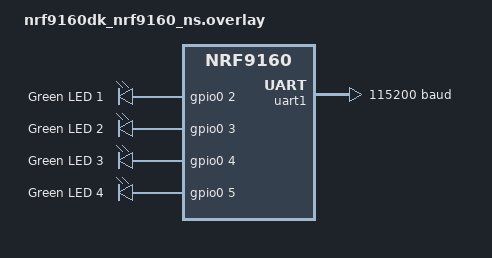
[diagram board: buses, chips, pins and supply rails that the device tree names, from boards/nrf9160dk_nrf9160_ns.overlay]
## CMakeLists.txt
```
#
# Copyright (c) 2021 Nordic Semiconductor ASA
#
# SPDX-License-Identifier: LicenseRef-Nordic-5-Clause
#

cmake_minimum_required(VERSION 3.20.0)

find_package(Zephyr REQUIRED HINTS $ENV{ZEPHYR_BASE})
project(asset_tracker_v2)
zephyr_compile_definitions(PROJECT_NAME=${PROJECT_NAME})

# NORDIC SDK APP START
target_sources(app PRIVATE src/main.c
                           src/uart_1_module.c
                           src/uart_1_event.c)
# NORDIC SDK APP END

# Include source directory
target_include_directories(app PRIVATE src)
target_include_directories(app PRIVATE include/${BOARD}/)
zephyr_include_directories_ifdef(CONFIG_MEMFAULT configuration/memfault)

# Application directories
add_subdirectory(src/modules)
add_subdirectory(src/events)

add_subdirectory_ifdef(CONFIG_CLOUD_MODULE src/cloud)
add_subdirectory_ifdef(CONFIG_SENSOR_MODULE src/ext_sensors)
add_subdirectory_ifdef(CONFIG_WATCHDOG_APPLICATION src/watchdog)

# Include nRF modem library header file for PC builds.
# These are used throughout the application in type definitions.
if (CONFIG_BOARD_QEMU_X86 OR CONFIG_BOARD_NATIVE_POSIX)
        target_include_directories(app PRIVATE ${NRFXLIB_DIR}/nrf_modem/include/)

        # Make folder containing certificates global so that it can be located by the configured
        # cloud library.
        zephyr_include_directories(src/cloud-certs)

        target_compile_options(app PRIVATE
	        -DCONFIG_LTE_NEIGHBOR_CELLS_MAX=10)
endif()
```

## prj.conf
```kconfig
#
# Copyright (c) 2021 Nordic Semiconductor ASA
#
# SPDX-License-Identifier: LicenseRef-Nordic-5-Clause
#

# General config
CONFIG_NEWLIB_LIBC=y
CONFIG_NEWLIB_LIBC_NANO=y
CONFIG_NEWLIB_LIBC_FLOAT_PRINTF=y
CONFIG_ASSERT=y
CONFIG_REBOOT=y
CONFIG_FPU=y

CONFIG_RESET_ON_FATAL_ERROR=n


#CONFIG_DATE_TIME=y
#CONFIG_DATE_TIME_NTP=y
#CONFIG_NRF_MODEM_LIB=y
#CONFIG_LTE_LINK_CONTROL=y 
#CONFIG_DATE_TIME_UPDATE_INTERVAL_SECONDS=10
#CONFIG_DATE_TIME_TOO_OLD_SECONDS=5



#CONFIG_DATE_TIME_NTP_SERVER="pool.ntp.org"
#CONFIG_DATE_TIME_AUTO_UPDATE=y
#CONFIG_DATE_TIME_NTP_QUERY_TIME_SECONDS=5
#CONFIG_DATE_TIME_THREAD_STACK_SIZE=1024

# Heap and stacks
CONFIG_HEAP_MEM_POOL_SIZE=47250
CONFIG_MAIN_STACK_SIZE=2048
CONFIG_SYSTEM_WORKQUEUE_STACK_SIZE=4096
CONFIG_HW_STACK_PROTECTION=y
# Increase AT monitor heap size to be able to fit both neighbor cell measurement
# and other AT notifications that may come in rapid succession.
CONFIG_AT_MONITOR_HEAP_SIZE=1024

# Logging
CONFIG_LOG=y
CONFIG_LOG_MODE_DEFERRED=y

# nRF modem library
CONFIG_NRF_MODEM_LIB=y
CONFIG_NRF_MODEM_LIB_ON_FAULT_APPLICATION_SPECIFIC=y

# AT Host library - Used to send AT commands directy from an UART terminal and to allow
#		    integration with nRF Connect for Desktop LTE Link monitor application.
CONFIG_AT_HOST_LIBRARY=y





# Network
CONFIG_NETWORKING=y
CONFIG_NET_NATIVE=n
CONFIG_NET_SOCKETS=y
CONFIG_NET_SOCKETS_OFFLOAD=y
CONFIG_NET_IPV6=y
CONFIG_NET_IPV4=y

# LTE link control
CONFIG_LTE_NETWORK_MODE_LTE_M_GPS=y
## Power saving timers.
### 320 hours PSM.
CONFIG_LTE_PSM_REQ=y
CONFIG_LTE_PSM_REQ_RPTAU="11000001"
### 20 seconds active time.
CONFIG_LTE_PSM_REQ_RAT="00001010"

# Settings - Used to store real-time device configuration to flash.
CONFIG_SETTINGS=y
CONFIG_SETTINGS_FCB=y
CONFIG_FCB=y

# FOTA
CONFIG_FOTA_DOWNLOAD=y
CONFIG_DFU_TARGET=y
CONFIG_DOWNLOAD_CLIENT=y
CONFIG_DOWNLOAD_CLIENT_HTTP_FRAG_SIZE_1024=y
CONFIG_DOWNLOAD_CLIENT_STACK_SIZE=4096
CONFIG_DOWNLOAD_CLIENT_BUF_SIZE=2300
CONFIG_DOWNLOAD_CLIENT_MAX_HOSTNAME_SIZE=128

# Flash - Used in FOTA, settings and storage for P-GPS.
CONFIG_FLASH=y
CONFIG_FLASH_PAGE_LAYOUT=y
CONFIG_FLASH_MAP=y
CONFIG_STREAM_FLASH=y
CONFIG_MPU_ALLOW_FLASH_WRITE=y

# MCUBOOT
CONFIG_BOOTLOADER_MCUBOOT=y
CONFIG_IMG_MANAGER=y
CONFIG_MCUBOOT_IMG_MANAGER=y
CONFIG_IMG_ERASE_PROGRESSIVELY=y
CONFIG_SECURE_BOOT=y
CONFIG_BUILD_S1_VARIANT=y

# Watchdog
CONFIG_WATCHDOG_APPLICATION=y

# Application Event Manager
CONFIG_APP_EVENT_MANAGER=y
CONFIG_APP_EVENT_MANAGER_LOG_EVENT_TYPE=n

# cJSON - Used in cloud data encoding.
CONFIG_CJSON_LIB=y

# CAF - Common Application Framework
CONFIG_CAF=y
CONFIG_LED=y
CONFIG_CAF_LEDS=y
CONFIG_CAF_INIT_LOG_LED_READY_EVENTS=n
CONFIG_CAF_INIT_LOG_LED_EVENTS=n
CONFIG_CAF_INIT_LOG_MODULE_STATE_EVENTS=n

# Location related configuration
CONFIG_LOCATION=y
CONFIG_LOCATION_REQUEST_DEFAULT_METHOD_FIRST_GNSS=y
CONFIG_LOCATION_REQUEST_DEFAULT_METHOD_SECOND_CELLULAR=y
CONFIG_LOCATION_REQUEST_DEFAULT_GNSS_TIMEOUT=90000
CONFIG_LOCATION_REQUEST_DEFAULT_CELLULAR_TIMEOUT=11000
CONFIG_LOCATION_DATA_DETAILS=y
CONFIG_LOCATION_LOG_LEVEL_WRN=y

# Default cloud transport service
#CONFIG_NRF_CLOUD_MQTT=y
CONFIG_HW_ID_LIBRARY=y
CONFIG_HW_ID_LIBRARY_SOURCE_IMEI=y

CONFIG_SERIAL=y
CONFIG_TRUSTED_EXECUTION_NONSECURE=y
CONFIG_UART_INTERRUPT_DRIVEN=y

CONFIG_AWS_FOTA_DOWNLOAD_SECURITY_TAG=123456
CONFIG_POSIX_MAX_FDS=24 

#CONFIG_AWS_IOT_CLIENT_ID_APP=y
CONFIG_AWS_IOT_CLIENT_ID_STATIC="nrf9160_thing"

#CONFIG_NRF_CLOUD_AGPS=y ###


#CONFIG_NRF_CLOUD_REST=y

#CONFIG_NRF_CLOUD_SEC_TAG=16842753

#CONFIG_CLOUD_CLIENT_ID_USE_CUSTOM=y

#CONFIG_CLOUD_CLIENT_ID="351516179803200"
# Enable DFU target for MCUboot
```

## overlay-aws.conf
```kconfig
#
# Copyright (c) 2021 Nordic Semiconductor ASA
#
# SPDX-License-Identifier: LicenseRef-Nordic-5-Clause
#

CONFIG_AWS_IOT=y
CONFIG_AWS_IOT_TOPIC_UPDATE_DELTA_SUBSCRIBE=y
CONFIG_AWS_IOT_TOPIC_GET_REJECTED_SUBSCRIBE=y
CONFIG_AWS_IOT_AUTO_DEVICE_SHADOW_REQUEST=y
CONFIG_AWS_IOT_MQTT_RX_TX_BUFFER_LEN=2048
CONFIG_AWS_IOT_APP_SUBSCRIPTION_LIST_COUNT=3
#CONFIG_AWS_IOT_CLIENT_ID_APP=y
CONFIG_AWS_FOTA=y


# Options that must be configured in order to establish a connection.
CONFIG_AWS_IOT_SEC_TAG=123456
CONFIG_AWS_IOT_BROKER_HOST_NAME="a30695n0axlqin-ats.iot.us-east-2.amazonaws.com"

# MQTT Transport library
# Maximum specified MQTT keepalive timeout for AWS IoT is 1200 seconds.
CONFIG_MQTT_KEEPALIVE=300
# FOTA download
```

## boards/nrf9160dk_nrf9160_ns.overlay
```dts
/	{


	chosen {
		zephyr,console = &uart0;
		zephyr,shell-uart = &uart1;   // for receiving data from nrf52833(P0.6 tx and P0.8 Rx),nrf9160 (P0.0 Rx and P0.1 Tx)
		zephyr,uart-mcumgr = &uart0;
	};

	/delete-node/ leds;

	leds0 {
		compatible = "gpio-leds";
		status = "okay";
		label = "LED0";
		led0: led_0 {
			status = "okay";
			gpios = <&gpio0 2 0>;
			label = "Green LED 1";
		};
	};

	leds1 {
		compatible = "gpio-leds";
		status = "okay";
		label = "LED1";
		led1: led_1 {
			gpios = <&gpio0 3 0>;
			label = "Green LED 2";
		};
	};

	leds2 {
		compatible = "gpio-leds";
		status = "okay";
		label = "LED2";
		led2: led_2 {
			gpios = <&gpio0 4 0>;
			label = "Green LED 3";
		};
	};

	leds3 {
		compatible = "gpio-leds";
		status = "okay";
		label = "LED3";
		led3: led_3 {
			gpios = <&gpio0 5 0>;
			label = "Green LED 4";
		};
	};
};

/* Enable high drive mode for the SPI3 pins to get a square signal at 8 MHz */
&spi3_default {
	group1 {
		nordic,drive-mode = <NRF_DRIVE_H0H1>;
	};
};

&uart1 {
	status = "okay";
	current-speed = <115200>;
	pinctrl-0 = <&uart1_default>;
	pinctrl-1 = <&uart1_sleep>;
	pinctrl-names = "default", "sleep";

	
	

};
```

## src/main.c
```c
/*
 * Copyright (c) 2021 Nordic Semiconductor ASA
 *
 * SPDX-License-Identifier: LicenseRef-Nordic-5-Clause
 */

#include <zephyr/kernel.h>
#include <stdio.h>
#include <string.h>
#include <stdlib.h>
#include <app_event_manager.h>
#include <modem/nrf_modem_lib.h>
#include <zephyr/sys/reboot.h>
#include <net/nrf_cloud.h>
#include <zephyr/drivers/uart.h>
/* Module name is used by the Application Event Manager macros in this file */
#define MODULE main
#include <caf/events/module_state_event.h>

#include "modules_common.h"
#include "events/app_module_event.h"
#include "events/cloud_module_event.h"
#include "events/data_module_event.h"
#include "events/sensor_module_event.h"
#include "events/util_module_event.h"
#include "events/modem_module_event.h"

#include <zephyr/logging/log.h>
#include <zephyr/logging/log_ctrl.h>
#include "cloud_wrapper.h"

#include "uart_1_event.h"

#include<date_time.h>

LOG_MODULE_REGISTER(MODULE, CONFIG_APPLICATION_MODULE_LOG_LEVEL);

// Uart code Start................... //

  char uart_buf[256],Data_Extract[50],Central_Packet[100],Data_arr[50];
  
  char S_Flag=0;
  uint8_t data_length = 0;
  
  char Message_array[130];
  bool Start_Flag=false;
  bool Stop_Flag=false;
  bool one_time=false;

  //  char Start_Flag=0;
  //char Stop_Flag=0;
  bool Left_Bracket_Flag = false;
  bool Right_Bracket_Flag =false;
  uint8_t index,c;    // to know the number of characters in the array stored 
  uint8_t i;


  char j=0;
  char gps_packet_array[50];
  	
  //struct uart_module_event *event = new_uart_module_event();  //Declare an event type. This macro provides declarations required for an event to be used by other modules.
 	

// coded added for UART 

/* change this to any other UART peripheral if desired */
#define UART_DEVICE_NODE DT_CHOSEN(zephyr_console)   

#define UART_DEVICE_NODE1 DT_CHOSEN(zephyr_shell_uart)


/* queue to store up to 10 messages (aligned to 4-byte boundary) */
//K_MSGQ_DEFINE(uart_msgq, MSG_SIZE, 10, 4);  // code commented 

static const struct device *const uart_dev = DEVICE_DT_GET(UART_DEVICE_NODE);
static const struct device *const uart = DEVICE_DT_GET(UART_DEVICE_NODE1);

/* receive buffer used in UART ISR callback */

/*
 * Read characters from UART until line end is detected. Afterwards push the
 * data to the message queue.
 */




/*
void serial_cb(const struct device *dev)
{
	data_length = 0;

    uint16_t  index,c;    // to know the number of characters in the array stored 


	struct uart_module_event *event = new_uart_module_event();  //Declare an event type. This macro provides declarations required for an event to be used by other modules.

	if (!uart_irq_update(dev)) {
		return;
	}

  while (uart_irq_rx_ready(dev)) {    // uart interrupt 

	data_length = uart_fifo_read(dev, uart_buf, 1);  //Read data from FIFO. and returns no.  of bytes recieved 
	uart_buf[data_length] = 0;  // no. of bytes received 


	print_uart(dev,uart_buf);    // just for testing the loop back 

 
    if(uart_buf[0]=='&') {  //if $ rec , start loading (A)
	 i=0;

	 Start_Flag=1;
	 Stop_Flag=0;
	}

	if(uart_buf[0]=='&'){  // stop storing data (A)
	  
	  Stop_Flag=1;
	  Start_Flag=0;
	 
	  index=i;         // to know the numbers of characters rec
      i=0;
	
	}
    

	if(Start_Flag==1 && Stop_Flag==0){   //if $ rec , start loading (B)
    
	if(uart_buf[0]!='$')
	Data_Extract[i++]=uart_buf[0];   //start storing in data_extract 

	
	

	}

	if(Start_Flag==0 && Stop_Flag==1){ // stop storing data (B)

   print_uart(dev,"\nTLV493D   ");
	
	// print_uart(dev,Data_Extract);
     Stop_Flag=0;
	 Start_Flag=0;

   for(c=0; c<index; c++){
	event->data[c]=Data_Extract[c];
    }
//	event->data[c++]='\0';
	event->type=UART_EVT_RECIEVED;
	APP_EVENT_SUBMIT(event);

	}

  }


}
*/

   
/*
void serial_cb(const struct device *dev)     // workinng  code 
{

   
	//data_length = 0;

    
	if (!uart_irq_update(dev)) {
		return;
	}

  while (uart_irq_rx_ready(dev)) {    // uart interrupt 

    

	data_length = uart_fifo_read(dev, uart_buf, sizeof(uart_buf));  //Read data from FIFO. and returns no.  of bytes recieved 
	uart_buf[data_length] = 0;  // no. of bytes received 
   
  // printf("data_length  %x  ",data_length);
 if(Start_Flag==true)
	 Data_Extract[i++]=uart_buf[0];   //start storing in data_extract 


    if(uart_buf[0]=='(') 
	 Left_Bracket_Flag=true;

	if(uart_buf[0]=='&')
	 Right_Bracket_Flag=true;

   
	if(Left_Bracket_Flag==true && uart_buf[0]=='$') {  //if $ rec , start loading (A)

	 Start_Flag=true;
	 Left_Bracket_Flag=false;
	 Right_Bracket_Flag=false;
	 i=0;
	}


   

  	 if(Right_Bracket_Flag ==true && uart_buf[0]==')'){  // stop storing data (A)

	// if below line declared at the top of serial_cb , it hangs the code after some messages sent from serial via nrf52833
       Data_Extract[i-2]=NULL;   //start storing in data_extract 


	 struct uart_module_event *event = new_uart_module_event();  //Declare an event type. This macro provides declarations required for an event to be used by other modules.
   

	  Start_Flag=false;
	  Right_Bracket_Flag=false;
	  Left_Bracket_Flag=false;

	  print_uart(dev,Data_Extract);

	  index=i;         // to know the numbers of characters rec
     
    
	
    for(c=0; c<index; c++){
     event->data[c]=Data_Extract[c];
    }
//	event->data[c++]='\0';
     i=0;
	 strstr()

	event->type=UART_EVT_RECIEVED;
	APP_EVENT_SUBMIT(event);

	}

  }


}

*/
void serial_cb(const struct device *dev)     // workinng  code 
{

   
	//data_length = 0;

    
	if (!uart_irq_update(dev)) {
		return;
	}

  while (uart_irq_rx_ready(dev)) {    // uart interrupt 

    

	data_length = uart_fifo_read(dev, uart_buf, sizeof(uart_buf));  //Read data from FIFO. and returns no.  of bytes recieved 
	uart_buf[data_length] = 0;  // no. of bytes received 

 
 if(uart_buf[0]!=NULL)
	 Data_arr[i++]=uart_buf[0];

 else{


    char *start = strstr(Data_arr, "($") + 2; // find the start of the substring
    char *end = strstr(Data_arr, "&)") - 1; // find the end of the substring
    int len = end - start + 1; // calculate the length of the substring
    char output[len + 1]; // create a buffer for the output string
    strncpy(output, start, len); // copy the substring to the output buffer
    output[len] = '\0'; // add a null terminator to the output string

	print_uart(dev,output);  // print the output string

	struct uart_module_event *event = new_uart_module_event();  //Declare an event type. This macro provides declarations required for an event to be used by other modules.
   

    for(char p=0; p<len; p++)
	event->data[p]=output[p];

	i=0;

    //strcpy(event->data,Data_Extract);

    event->type=UART_EVT_RECIEVED;
	APP_EVENT_SUBMIT(event);


 } 
   


	

  }


}

/*
 * Print a null-terminated string character by character to the UART interface
 */
void print_uart(const struct device * dev,char *buf)
{
	int msg_len =strlen(buf);

	for (int i = 0; i < msg_len; i++) {
		uart_poll_out(dev, buf[i]);
	}
}

// coded added for uart
/* Message structure. Events from other modules are converted to messages
 * in the Application Event Manager handler, and then queued up in the message queue
 * for processing in the main thread.
 */
struct app_msg_data {
	union {
		struct cloud_module_event cloud;
		struct sensor_module_event sensor;
		struct data_module_event data;
		struct util_module_event util;
		struct modem_module_event modem;
		struct app_module_event app;
	} module;
};

/* Application module super states. */
static enum state_type {
	STATE_INIT,
	STATE_RUNNING,
	STATE_SHUTDOWN
} state;

/* Application sub states. The application can be in either active or passive
 * mode.
 *
 * Active mode: Sensor data and GNSS position is acquired at a configured
 *		interval and sent to cloud.
 *
 * Passive mode: Sensor data and GNSS position is acquired when movement is
 *		 detected, or after the configured movement timeout occurs.
 */
static enum sub_state_type {
	SUB_STATE_ACTIVE_MODE,
	SUB_STATE_PASSIVE_MODE,
} sub_state;

/* Internal copy of the device configuration. */
static struct cloud_data_cfg app_cfg;

/* Variable that keeps track whether modem static data has been successfully sampled by the
 * modem module. Modem static data does not change and only needs to be sampled and sent to cloud
 * once.
 */
static bool modem_static_sampled;

/* Variable that is set high whenever a sample request is ongoing. */
static bool sample_request_ongoing;

/* Variable that is set high whenever the device is considered active (under movement). */
static bool activity;

/* Timer callback used to signal when timeout has occurred both in active
 * and passive mode.
 */
static void data_sample_timer_handler(struct k_timer *timer);

/* Application module message queue. */
#define APP_QUEUE_ENTRY_COUNT		10
#define APP_QUEUE_BYTE_ALIGNMENT	4

/* Data fetching timeouts */
#define DATA_FETCH_TIMEOUT_DEFAULT 2

K_MSGQ_DEFINE(msgq_app, sizeof(struct app_msg_data), APP_QUEUE_ENTRY_COUNT,
	      APP_QUEUE_BYTE_ALIGNMENT);

/* Data sample timer used in active mode. */
K_TIMER_DEFINE(data_sample_timer, data_sample_timer_handler, NULL);

/* Movement timer used to detect movement timeouts in passive mode. */
K_TIMER_DEFINE(movement_timeout_timer, data_sample_timer_handler, NULL);

/* Movement resolution timer decides the period after movement that consecutive
 * movements are ignored and do not cause data collection. This is used to
 * lower power consumption by limiting how often GNSS search is performed and
 * data is sent on air.
 */
K_TIMER_DEFINE(movement_resolution_timer, NULL, NULL);

/* Module data structure to hold information of the application module, which
 * opens up for using convenience functions available for modules.
 */
static struct module_data self = {
	.name = "app",
	.msg_q = &msgq_app,
	.supports_shutdown = true,
};

/* Convenience functions used in internal state handling. */
static char *state2str(enum state_type new_state)
{
	switch (new_state) {
	case STATE_INIT:
		return "STATE_INIT";
	case STATE_RUNNING:
		return "STATE_RUNNING";
	case STATE_SHUTDOWN:
		return "STATE_SHUTDOWN";
	default:
		return "Unknown";
	}
}

static char *sub_state2str(enum sub_state_type new_state)
{
	switch (new_state) {
	case SUB_STATE_ACTIVE_MODE:
		return "SUB_STATE_ACTIVE_MODE";
	case SUB_STATE_PASSIVE_MODE:
		return "SUB_STATE_PASSIVE_MODE";
	default:
		return "Unknown";
	}
}

static void state_set(enum state_type new_state)
{
	if (new_state == state) {
		LOG_DBG("State: %s", state2str(state));
		return;
	}

	LOG_DBG("State transition %s --> %s",
		state2str(state),
		state2str(new_state));

	state = new_state;
}

static void sub_state_set(enum sub_state_type new_state)
{
	if (new_state == sub_state) {
		LOG_DBG("Sub state: %s", sub_state2str(sub_state));
		return;
	}

	LOG_DBG("Sub state transition %s --> %s",
		sub_state2str(sub_state),
		sub_state2str(new_state));

	sub_state = new_state;
}

#if defined(CONFIG_NRF_MODEM_LIB)
/* Check the return code from nRF modem library initialization to ensure that
 * the modem is rebooted if a modem firmware update is ready to be applied or
 * an error condition occurred during firmware update or library initialization.
 */
static void modem_init(void)
{
	int ret = nrf_modem_lib_init();

	/* Handle return values relating to modem firmware update */
	switch (ret) {
	case 0:
		/* Initialization successful, no action required. */
		return;
	case NRF_MODEM_DFU_RESULT_OK:
		LOG_DBG("MODEM UPDATE OK. Will run new modem firmware after reboot");
		break;
	case NRF_MODEM_DFU_RESULT_UUID_ERROR:
	case NRF_MODEM_DFU_RESULT_AUTH_ERROR:
		LOG_ERR("MODEM UPDATE ERROR %d. Will run old firmware", ret);
		break;
	case NRF_MODEM_DFU_RESULT_HARDWARE_ERROR:
	case NRF_MODEM_DFU_RESULT_INTERNAL_ERROR:
		LOG_ERR("MODEM UPDATE FATAL ERROR %d. Modem failure", ret);
		break;
	case NRF_MODEM_DFU_RESULT_VOLTAGE_LOW:
		LOG_ERR("MODEM UPDATE CANCELLED %d.", ret);
		LOG_ERR("Please reboot once you have sufficient power for the DFU");
		break;
	default:
		/* All non-zero return codes other than DFU result codes are
		 * considered irrecoverable and a reboot is needed.
		 */
		LOG_ERR("nRF modem lib initialization failed, error: %d", ret);
		break;
	}

#if defined(CONFIG_NRF_CLOUD_FOTA)
	/* Ignore return value, rebooting below */
	(void)nrf_cloud_fota_pending_job_validate(NULL);
#endif
	LOG_DBG("Rebooting...");
	LOG_PANIC();
	sys_reboot(SYS_REBOOT_COLD);
}
#endif /* CONFIG_NRF_MODEM_LIB */

/* Application Event Manager handler. Puts event data into messages and adds them to the
 * application message queue.
 */
static bool app_event_handler(const struct app_event_header *aeh)
{
	struct app_msg_data msg = {0};
	bool enqueue_msg = false;

	if (is_cloud_module_event(aeh)) {
		struct cloud_module_event *evt = cast_cloud_module_event(aeh);

		msg.module.cloud = *evt;
		enqueue_msg = true;
	}

	if (is_app_module_event(aeh)) {
		struct app_module_event *evt = cast_app_module_event(aeh);

		msg.module.app = *evt;
		enqueue_msg = true;
	}

	if (is_data_module_event(aeh)) {
		struct data_module_event *evt = cast_data_module_event(aeh);

		msg.module.data = *evt;
		enqueue_msg = true;
	}

	if (is_sensor_module_event(aeh)) {
		struct sensor_module_event *evt = cast_sensor_module_event(aeh);

		msg.module.sensor = *evt;
		enqueue_msg = true;
	}

	if (is_util_module_event(aeh)) {
		struct util_module_event *evt = cast_util_module_event(aeh);

		msg.module.util = *evt;
		enqueue_msg = true;
	}

	if (is_modem_module_event(aeh)) {
		struct modem_module_event *evt = cast_modem_module_event(aeh);

		msg.module.modem = *evt;
		enqueue_msg = true;
	}

	if (enqueue_msg) {
		int err = module_enqueue_msg(&self, &msg);

		if (err) {
			LOG_ERR("Message could not be enqueued");
			SEND_ERROR(app, APP_EVT_ERROR, err);
		}
	}

	return false;
}

static void data_sample_timer_handler(struct k_timer *timer)
{
	ARG_UNUSED(timer);

	/* Cancel if a previous sample request has not completed or the device is not under
	 * activity in passive mode.
	 */
	if (sample_request_ongoing || ((sub_state == SUB_STATE_PASSIVE_MODE) && !activity)) {
		return;
	}

//	SEND_EVENT(app, APP_EVT_DATA_GET_ALL);  disables the auto timer meesages send to cloud , it will save our data 
}

/* Static module functions. */
static void passive_mode_timers_start_all(void)
{
	LOG_DBG("Device mode: Passive");
	LOG_DBG("Start movement timeout: %d seconds interval", app_cfg.movement_timeout);

	LOG_DBG("%d seconds until movement can trigger a new data sample/publication",
		app_cfg.movement_resolution);

	k_timer_start(&data_sample_timer,
		      K_SECONDS(app_cfg.movement_resolution),
		      K_SECONDS(app_cfg.movement_resolution));

	k_timer_start(&movement_resolution_timer,
		      K_SECONDS(app_cfg.movement_resolution),
		      K_SECONDS(0));

	k_timer_start(&movement_timeout_timer,
		      K_SECONDS(app_cfg.movement_timeout),
		      K_SECONDS(app_cfg.movement_timeout));
}

static void active_mode_timers_start_all(void)
{
	LOG_DBG("Device mode: Active");
	LOG_DBG("Start data sample timer: %d seconds interval", app_cfg.active_wait_timeout);

	k_timer_start(&data_sample_timer,
		      K_SECONDS(app_cfg.active_wait_timeout),
		      K_SECONDS(app_cfg.active_wait_timeout));

	k_timer_stop(&movement_resolution_timer);
	k_timer_stop(&movement_timeout_timer);
}

static void activity_event_handle(enum sensor_module_event_type sensor_event)
{
	__ASSERT(((sensor_event == SENSOR_EVT_MOVEMENT_ACTIVITY_DETECTED) ||
		  (sensor_event == SENSOR_EVT_MOVEMENT_INACTIVITY_DETECTED)),
		  "Unknown event");

	activity = (sensor_event == SENSOR_EVT_MOVEMENT_ACTIVITY_DETECTED) ? true : false;

	if (sample_request_ongoing) {
		LOG_DBG("Sample request ongoing, abort request.");
		return;
	}

	if ((sensor_event == SENSOR_EVT_MOVEMENT_ACTIVITY_DETECTED) &&
	    (k_timer_remaining_get(&movement_resolution_timer) != 0)) {
		LOG_DBG("Movement resolution timer has not expired, abort request.");
		return;
	}

	SEND_EVENT(app, APP_EVT_DATA_GET_ALL);
	passive_mode_timers_start_all();
}

static void data_get(void)
{

	
	struct app_module_event *app_module_event = new_app_module_event();

	__ASSERT(app_module_event, "Not enough heap left to allocate event");

	size_t count = 0;

	/* Set a low sample timeout. If location is requested, the sample timeout
	 * will be increased to accommodate the location request.
	 */
	app_module_event->timeout = DATA_FETCH_TIMEOUT_DEFAULT;

	/* Specify which data that is to be included in the transmission. */
	app_module_event->data_list[count++] = APP_DATA_MODEM_DYNAMIC;
	//app_module_event->data_list[count++] = APP_DATA_BATTERY;
	//app_module_event->data_list[count++] = APP_DATA_ENVIRONMENTAL;

	if (!modem_static_sampled) {
	//	app_module_event->data_list[count++] = APP_DATA_MODEM_STATIC;
	}

	if (!app_cfg.no_data.neighbor_cell || !app_cfg.no_data.gnss || !app_cfg.no_data.wifi) {
	//	app_module_event->data_list[count++] = APP_DATA_LOCATION;

		/* Set application module timeout when location sampling is requested.
		 * This is selected to be long enough so that most of the GNSS would
		 * have enough time to run to get a fix. We also want it to be smaller than
		 * the sampling interval (120s). So, 110s was selected but we take
		 * minimum of sampling interval minus 5 (just some selected number) and 110.
		 * And mode (active or passive) is taken into account.
		 * If the timeout would become smaller than 5s, we want to ensure some time for
		 * the modules so the minimum value for application module timeout is 5s.
		 */
		app_module_event->timeout = (app_cfg.active_mode) ?
			MIN(app_cfg.active_wait_timeout - 5, 110) :
			MIN(app_cfg.movement_resolution - 5, 110);
		app_module_event->timeout = MAX(app_module_event->timeout, 5);
	}

	/* Set list count to number of data types passed in app_module_event. */
	app_module_event->count = count;
	app_module_event->type = APP_EVT_DATA_GET;


	

	APP_EVENT_SUBMIT(app_module_event);
}

/* Message handler for STATE_INIT. */
static void on_state_init(struct app_msg_data *msg)
{
	if (IS_EVENT(msg, data, DATA_EVT_CONFIG_INIT)) {
		/* Keep a copy of the new configuration. */
		app_cfg = msg->module.data.data.cfg;

		if (app_cfg.active_mode) {
			active_mode_timers_start_all();
		} else {
			passive_mode_timers_start_all();
		}

		state_set(STATE_RUNNING);
		sub_state_set(app_cfg.active_mode ? SUB_STATE_ACTIVE_MODE :
						    SUB_STATE_PASSIVE_MODE);
	}
}

/* Message handler for STATE_RUNNING. */
static void on_state_running(struct app_msg_data *msg)
{
	if (IS_EVENT(msg, cloud, CLOUD_EVT_CONNECTED)) {
		data_get();
	}

	if (IS_EVENT(msg, app, APP_EVT_DATA_GET_ALL)) {
		data_get();
	}
}

/* Message handler for SUB_STATE_PASSIVE_MODE. */
void on_sub_state_passive(struct app_msg_data *msg)
{
	if (IS_EVENT(msg, data, DATA_EVT_CONFIG_READY)) {
		/* Keep a copy of the new configuration. */
		app_cfg = msg->module.data.data.cfg;

		if (app_cfg.active_mode) {
			active_mode_timers_start_all();
			sub_state_set(SUB_STATE_ACTIVE_MODE);
			return;
		}

		passive_mode_timers_start_all();
	}

	if ((IS_EVENT(msg, sensor, SENSOR_EVT_MOVEMENT_ACTIVITY_DETECTED)) ||
	    (IS_EVENT(msg, sensor, SENSOR_EVT_MOVEMENT_INACTIVITY_DETECTED))) {
		activity_event_handle(msg->module.sensor.type);
	}
}

/* Message handler for SUB_STATE_ACTIVE_MODE. */
static void on_sub_state_active(struct app_msg_data *msg)
{
	if (IS_EVENT(msg, data, DATA_EVT_CONFIG_READY)) {
		/* Keep a copy of the new configuration. */
		app_cfg = msg->module.data.data.cfg;

		if (!app_cfg.active_mode) {
			passive_mode_timers_start_all();
			sub_state_set(SUB_STATE_PASSIVE_MODE);
			return;
		}

		active_mode_timers_start_all();
	}
}

/* Message handler for all states. */
static void on_all_events(struct app_msg_data *msg)
{
	if (IS_EVENT(msg, util, UTIL_EVT_SHUTDOWN_REQUEST)) {
		k_timer_stop(&data_sample_timer);
		k_timer_stop(&movement_timeout_timer);
		k_timer_stop(&movement_resolution_timer);

		SEND_SHUTDOWN_ACK(app, APP_EVT_SHUTDOWN_READY, self.id);
		state_set(STATE_SHUTDOWN);
	}

	if (IS_EVENT(msg, modem, MODEM_EVT_MODEM_STATIC_DATA_READY)) {
		modem_static_sampled = true;
	}

	if (IS_EVENT(msg, app, APP_EVT_DATA_GET)) {
		sample_request_ongoing = true;
	}

	if (IS_EVENT(msg, data, DATA_EVT_DATA_READY)) {
		sample_request_ongoing = false;
	}

	if (IS_EVENT(msg, sensor, SENSOR_EVT_MOVEMENT_IMPACT_DETECTED)) {
		SEND_EVENT(app, APP_EVT_DATA_GET_ALL);
	}
}

int main(void)
{
	int err;
	struct app_msg_data msg = { 0 };

	printk("i am new version .........");
    
	if (app_event_manager_init()) {
		/* Without the Application Event Manager, the application will not work
		 * as intended. A reboot is required in an attempt to recover.
		 */
		LOG_ERR("Application Event Manager could not be initialized, rebooting...");
		k_sleep(K_SECONDS(5));
		sys_reboot(SYS_REBOOT_COLD);
	} else {
		module_set_state(MODULE_STATE_READY);
		SEND_EVENT(app, APP_EVT_START);

#if defined(CONFIG_NRF_MODEM_LIB)
		modem_init();
#endif
	}

	self.thread_id = k_current_get();

	err = module_start(&self);
	if (err) {
		LOG_ERR("Failed starting module, error: %d", err);
		SEND_ERROR(app, APP_EVT_ERROR, err);
	}


// code added for Uart



	if (!device_is_ready(uart)) {
		printk("UART device not found!");
		return;
	}

	/* configure interrupt and callback to receive data */
	uart_irq_callback_user_data_set(uart, serial_cb, NULL);
	
	uart_irq_rx_enable(uart);

	print_uart(uart,"Hello! I'm your echo bot.\r\n");
	print_uart(uart,"Tell me something and press enter:\r\n");

	// code added for uart

   
		
	while (true) {

		
		module_get_next_msg(&self, &msg);

		switch (state) {
		case STATE_INIT:
			on_state_init(&msg);
			break;
		case STATE_RUNNING:
			switch (sub_state) {
			case SUB_STATE_ACTIVE_MODE:
				on_sub_state_active(&msg);


				
				break;
			case SUB_STATE_PASSIVE_MODE:
				on_sub_state_passive(&msg);
				break;
			default:
				LOG_ERR("Unknown sub state");
				break;
			}

			on_state_running(&msg);
			break;
		case STATE_SHUTDOWN:
			/* The shutdown state has no transition. */
			break;
		default:
			LOG_ERR("Unknown state");
			break;
		}

		on_all_events(&msg);

	}
	return 0;
}

APP_EVENT_LISTENER(MODULE, app_event_handler);
APP_EVENT_SUBSCRIBE_EARLY(MODULE, cloud_module_event);
APP_EVENT_SUBSCRIBE(MODULE, app_module_event);
APP_EVENT_SUBSCRIBE(MODULE, data_module_event);
APP_EVENT_SUBSCRIBE(MODULE, util_module_event);
APP_EVENT_SUBSCRIBE_FINAL(MODULE, sensor_module_event);
APP_EVENT_SUBSCRIBE_FINAL(MODULE, modem_module_event);
```

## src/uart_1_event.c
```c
#include <zephyr/kernel.h>
//#include <sys/printk.h>
#include <app_event_manager.h>

#include "uart_1_event.h"




static void log_uart_module_event(const struct app_event_header *aeh)
{
        struct uart_module_event * ue = cast_uart_module_event(aeh);

       // APP_EVENT_MANAGER_LOG(aeh, "val1=%c ", ue->data);

       APP_EVENT_MANAGER_LOG(aeh, "val1=%c ", ue->data);
}



APP_EVENT_TYPE_DEFINE(uart_module_event,                                                  /* Unique event name. */
                  log_uart_module_event,                                                  /* Function logging event data. */
                  NULL,                                                              /* No event info provided. */
                  APP_EVENT_FLAGS_CREATE(APP_EVENT_TYPE_FLAGS_INIT_LOG_ENABLE));     /* Flags managing event type. */
```

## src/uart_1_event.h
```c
#include <zephyr/kernel.h>
#include <app_event_manager.h>


enum uart_module_event_type {
	
	UART_EVT_RECIEVED,
        UART_EVT_NOT_RECIEVED,

};

struct uart_module_event {
        struct app_event_header header;
        enum uart_module_event_type type;

        /* Custom data fields. */
    
         char data[150];
  
};

APP_EVENT_TYPE_DECLARE(uart_module_event);
```

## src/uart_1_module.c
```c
/*
 * Copyright (c) 2019 Nordic Semiconductor ASA
 *
 * SPDX-License-Identifier: LicenseRef-Nordic-5-Clause
 */

#include <zephyr/kernel.h>
#include "uart_1_event.h"
#include <app_event_manager.h>

 bool app_event_handler(const struct app_event_header *aeh)
{
	
   if (is_uart_module_event(aeh)) {
		struct uart_module_event * event= cast_uart_module_event(aeh);
   
     /* i comment it for time being ...

       for(char i=0; i<5; i++){
	 	printk("Uart 1 %c ",event->data[i]);

      }
    
       printk("\n");  */

       
		return false;
	}

	
	return false;
	
}

APP_EVENT_LISTENER(MODULE, app_event_handler);
APP_EVENT_SUBSCRIBE(MODULE, uart_module_event);
```
